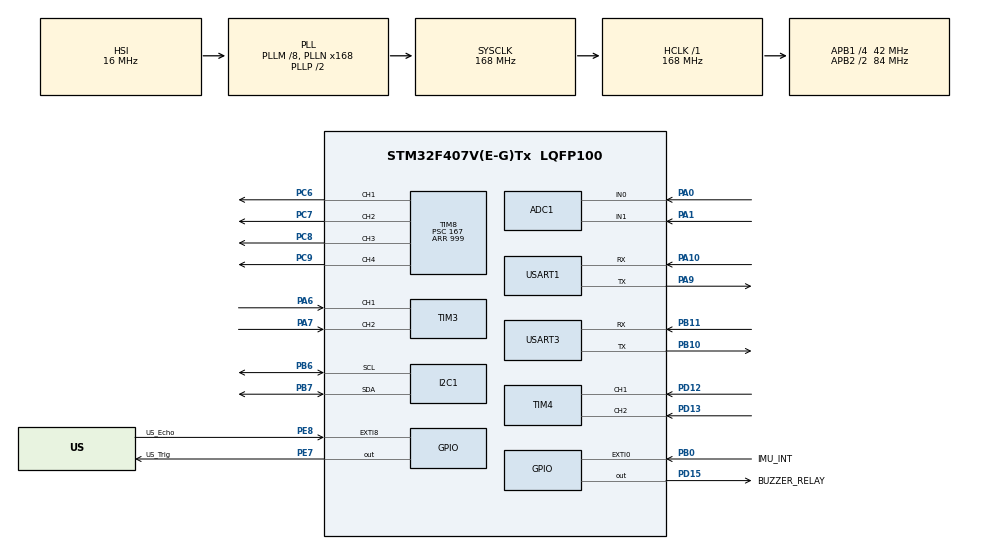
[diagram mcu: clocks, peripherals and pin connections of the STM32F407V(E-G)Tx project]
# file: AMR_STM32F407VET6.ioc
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ADC1.Channel-0\#ChannelRegularConversion=ADC_CHANNEL_0
ADC1.Channel-1\#ChannelRegularConversion=ADC_CHANNEL_1
ADC1.ContinuousConvMode=ENABLE
ADC1.DMAContinuousRequests=ENABLE
ADC1.NbrOfConversion=2
ADC1.NbrOfConversionFlag=1
ADC1.Rank-0\#ChannelRegularConversion=1
ADC1.Rank-1\#ChannelRegularConversion=2
ADC1.SamplingTime-0\#ChannelRegularConversion=ADC_SAMPLETIME_480CYCLES
ADC1.SamplingTime-1\#ChannelRegularConversion=ADC_SAMPLETIME_480CYCLES
ADC1.ScanConvMode=ENABLE
ADC1.master=1
Dma.ADC1.4.Direction=DMA_PERIPH_TO_MEMORY
Dma.ADC1.4.FIFOMode=DMA_FIFOMODE_DISABLE
Dma.ADC1.4.Instance=DMA2_Stream0
Dma.ADC1.4.MemDataAlignment=DMA_MDATAALIGN_HALFWORD
Dma.ADC1.4.MemInc=DMA_MINC_ENABLE
Dma.ADC1.4.Mode=DMA_CIRCULAR
Dma.ADC1.4.PeriphDataAlignment=DMA_PDATAALIGN_HALFWORD
Dma.ADC1.4.PeriphInc=DMA_PINC_DISABLE
Dma.ADC1.4.Priority=DMA_PRIORITY_LOW
Dma.Request0=USART1_RX
Dma.Request1=USART1_TX
Dma.Request2=USART3_TX
Dma.Request3=USART3_RX
Dma.Request4=ADC1
Dma.USART1_RX.0.Direction=DMA_PERIPH_TO_MEMORY
Dma.USART1_RX.0.FIFOMode=DMA_FIFOMODE_DISABLE
Dma.USART1_RX.0.Instance=DMA2_Stream2
Dma.USART1_RX.0.MemDataAlignment=DMA_MDATAALIGN_BYTE
Dma.USART1_RX.0.MemInc=DMA_MINC_ENABLE
Dma.USART1_RX.0.Mode=DMA_CIRCULAR
Dma.USART1_RX.0.PeriphDataAlignment=DMA_PDATAALIGN_BYTE
Dma.USART1_RX.0.PeriphInc=DMA_PINC_DISABLE
Dma.USART1_RX.0.Priority=DMA_PRIORITY_HIGH
Dma.USART1_TX.1.Direction=DMA_MEMORY_TO_PERIPH
Dma.USART1_TX.1.FIFOMode=DMA_FIFOMODE_DISABLE
Dma.USART1_TX.1.Instance=DMA2_Stream7
Dma.USART1_TX.1.MemDataAlignment=DMA_MDATAALIGN_BYTE
Dma.USART1_TX.1.MemInc=DMA_MINC_ENABLE
Dma.USART1_TX.1.Mode=DMA_NORMAL
Dma.USART1_TX.1.PeriphDataAlignment=DMA_PDATAALIGN_BYTE
Dma.USART1_TX.1.PeriphInc=DMA_PINC_DISABLE
Dma.USART1_TX.1.Priority=DMA_PRIORITY_LOW
Dma.USART3_RX.3.Direction=DMA_PERIPH_TO_MEMORY
Dma.USART3_RX.3.FIFOMode=DMA_FIFOMODE_DISABLE
Dma.USART3_RX.3.Instance=DMA1_Stream1
Dma.USART3_RX.3.MemDataAlignment=DMA_MDATAALIGN_BYTE
Dma.USART3_RX.3.MemInc=DMA_MINC_ENABLE
Dma.USART3_RX.3.Mode=DMA_CIRCULAR
Dma.USART3_RX.3.PeriphDataAlignment=DMA_PDATAALIGN_BYTE
Dma.USART3_RX.3.PeriphInc=DMA_PINC_DISABLE
Dma.USART3_RX.3.Priority=DMA_PRIORITY_LOW
Dma.USART3_TX.2.Direction=DMA_MEMORY_TO_PERIPH
Dma.USART3_TX.2.FIFOMode=DMA_FIFOMODE_DISABLE
Dma.USART3_TX.2.Instance=DMA1_Stream3
Dma.USART3_TX.2.MemDataAlignment=DMA_MDATAALIGN_BYTE
Dma.USART3_TX.2.MemInc=DMA_MINC_ENABLE
Dma.USART3_TX.2.Mode=DMA_NORMAL
Dma.USART3_TX.2.PeriphDataAlignment=DMA_PDATAALIGN_BYTE
Dma.USART3_TX.2.PeriphInc=DMA_PINC_DISABLE
Dma.USART3_TX.2.Priority=DMA_PRIORITY_LOW
FREERTOS.Tasks01=defaultTask,24,3000,StartDefaultTask,Default,NULL,Dynamic,NULL,NULL
FREERTOS.configUSE_NEWLIB_REENTRANT=1
Mcu.Family=STM32F4
Mcu.Name=STM32F407V(E-G)Tx
Mcu.Package=LQFP100
NVIC.DMA1_Stream1_IRQn=true\:5\:0\:false\:false\:true\:true\:false\:true\:true
NVIC.DMA1_Stream3_IRQn=true\:5\:0\:false\:false\:true\:true\:false\:true\:true
NVIC.DMA2_Stream0_IRQn=true\:5\:0\:false\:false\:true\:true\:false\:true\:true
NVIC.DMA2_Stream2_IRQn=true\:5\:0\:false\:false\:true\:true\:false\:true\:true
NVIC.DMA2_Stream7_IRQn=true\:5\:0\:false\:false\:true\:true\:false\:true\:true
NVIC.EXTI0_IRQn=true\:5\:0\:false\:false\:true\:true\:true\:true\:true
NVIC.PriorityGroup=NVIC_PRIORITYGROUP_4
NVIC.TIM6_DAC_IRQn=true\:15\:0\:false\:false\:true\:false\:false\:true\:true
NVIC.TimeBase=TIM6_DAC_IRQn
NVIC.TimeBaseIP=TIM6
NVIC.USART1_IRQn=true\:5\:0\:false\:false\:true\:true\:true\:true\:true
NVIC.USART3_IRQn=true\:5\:0\:false\:false\:true\:true\:true\:true\:true
PA0-WKUP.Signal=ADCx_IN0
PA1.Signal=ADCx_IN1
PA10.Mode=Asynchronous
PA10.Signal=USART1_RX
PA13.Mode=Serial_Wire
PA13.Signal=SYS_JTMS-SWDIO
PA14.Mode=Serial_Wire
PA14.Signal=SYS_JTCK-SWCLK
PA6.Signal=S_TIM3_CH1
PA7.Signal=S_TIM3_CH2
PA9.Mode=Asynchronous
PA9.Signal=USART1_TX
PB0.GPIO_Label=IMU_INT
PB0.GPIO_ModeDefaultEXTI=GPIO_MODE_IT_FALLING
PB0.GPIO_PuPd=GPIO_PULLUP
PB0.Signal=GPXTI0
PB10.Mode=Asynchronous
PB10.Signal=USART3_TX
PB11.Mode=Asynchronous
PB11.Signal=USART3_RX
PB6.Mode=I2C
PB6.Signal=I2C1_SCL
PB7.Mode=I2C
PB7.Signal=I2C1_SDA
PC6.Signal=S_TIM8_CH1
PC7.Signal=S_TIM8_CH2
PC8.Signal=S_TIM8_CH3
PC9.Signal=S_TIM8_CH4
PD12.Signal=S_TIM4_CH1
PD13.Signal=S_TIM4_CH2
PD15.GPIO_Label=BUZZER_RELAY
PD15.Signal=GPIO_Output
PE7.GPIO_Label=US_Trig
PE7.Signal=GPIO_Output
PE8.GPIO_Label=US_Echo
PE8.GPIO_ModeDefaultEXTI=GPIO_MODE_IT_RISING_FALLING
PE8.Signal=GPXTI8
PH0-OSC_IN.Mode=HSE-External-Oscillator
PH0-OSC_IN.Signal=RCC_OSC_IN
PH1-OSC_OUT.Mode=HSE-External-Oscillator
PH1-OSC_OUT.Signal=RCC_OSC_OUT
ProjectManager.HeapSize=0x1000
ProjectManager.StackSize=0x800
ProjectManager.TargetToolchain=STM32CubeIDE
RCC.48MHZClocksFreq_Value=84000000
RCC.AHBFreq_Value=168000000
RCC.APB1CLKDivider=RCC_HCLK_DIV4
RCC.APB1Freq_Value=42000000
RCC.APB1TimFreq_Value=84000000
RCC.APB2CLKDivider=RCC_HCLK_DIV2
RCC.APB2Freq_Value=84000000
RCC.APB2TimFreq_Value=168000000
RCC.CortexFreq_Value=168000000
RCC.HCLKFreq_Value=168000000
RCC.HSE_VALUE=8000000
RCC.HSI_VALUE=16000000
RCC.LSE_VALUE=32768
RCC.PLLM=8
RCC.PLLN=168
RCC.SYSCLKFreq_VALUE=168000000
RCC.SYSCLKSource=RCC_SYSCLKSOURCE_PLLCLK
RCC.VCOOutputFreq_Value=336000000
SH.ADCx_IN0.0=ADC1_IN0,IN0
SH.ADCx_IN1.0=ADC1_IN1,IN1
SH.S_TIM3_CH1.0=TIM3_CH1,Encoder_Interface
SH.S_TIM3_CH2.0=TIM3_CH2,Encoder_Interface
SH.S_TIM4_CH1.0=TIM4_CH1,Encoder_Interface
SH.S_TIM4_CH2.0=TIM4_CH2,Encoder_Interface
SH.S_TIM8_CH1.0=TIM8_CH1,PWM Generation1 CH1
SH.S_TIM8_CH2.0=TIM8_CH2,PWM Generation2 CH2
SH.S_TIM8_CH3.0=TIM8_CH3,PWM Generation3 CH3
SH.S_TIM8_CH4.0=TIM8_CH4,PWM Generation4 CH4
TIM3.EncoderMode=TIM_ENCODERMODE_TI12
TIM4.EncoderMode=TIM_ENCODERMODE_TI12
TIM7.Prescaler=84-1
TIM8.Channel-PWM\ Generation1\ CH1=TIM_CHANNEL_1
TIM8.Channel-PWM\ Generation2\ CH2=TIM_CHANNEL_2
TIM8.Channel-PWM\ Generation3\ CH3=TIM_CHANNEL_3
TIM8.Channel-PWM\ Generation4\ CH4=TIM_CHANNEL_4
TIM8.Period=999
TIM8.Prescaler=167
USART1.VirtualMode=VM_ASYNC
USART3.VirtualMode=VM_ASYNC
VP_FREERTOS_VS_CMSIS_V2.Mode=CMSIS_V2
VP_SYS_VS_tim6.Mode=TIM6
VP_TIM7_VS_ClockSourceINT.Mode=Enable_Timer
VP_TIM8_VS_ClockSourceINT.Mode=Internal
board=custom

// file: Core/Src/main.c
/* USER CODE BEGIN Header */
/**
  ******************************************************************************
  * @file           : main.c
  * @brief          : Main program body
  ******************************************************************************
  * @attention
  *
  * Copyright (c) 2026 STMicroelectronics.
  * All rights reserved.
  *
  * This software is licensed under terms that can be found in the LICENSE file
  * in the root directory of this software component.
  * If no LICENSE file comes with this software, it is provided AS-IS.
  *
  ******************************************************************************
  */
/* USER CODE END Header */
#include "main.h"
#include "cmsis_os.h"
#include "adc.h"
#include "dma.h"
#include "i2c.h"
#include "tim.h"
#include "usart.h"
#include "gpio.h"

void SystemClock_Config(void);
void MX_FREERTOS_Init(void);

int main(void)
{

  /* MCU Configuration--------------------------------------------------------*/

  /* Reset of all peripherals, Initializes the Flash interface and the Systick. */
  HAL_Init();

  /* Configure the system clock */
  SystemClock_Config();

  /* Initialize all configured peripherals */
  MX_GPIO_Init();
  MX_DMA_Init();
  MX_TIM3_Init();
  MX_TIM4_Init();
  MX_USART1_UART_Init();
  MX_I2C1_Init();
  MX_TIM8_Init();
  MX_TIM7_Init();
  MX_USART3_UART_Init();
  MX_ADC1_Init();

  /* Init scheduler */
  osKernelInitialize();  /* Call init function for freertos objects (in cmsis_os2.c) */
  MX_FREERTOS_Init();

  /* Start scheduler */
  osKernelStart();

  /* We should never get here as control is now taken by the scheduler */

  /* Infinite loop */
  while (1)
  {

  }
}

void SystemClock_Config(void)
{
  RCC_OscInitTypeDef RCC_OscInitStruct = {0};
  RCC_ClkInitTypeDef RCC_ClkInitStruct = {0};

  /** Configure the main internal regulator output voltage
  */
  __HAL_RCC_PWR_CLK_ENABLE();
  __HAL_PWR_VOLTAGESCALING_CONFIG(PWR_REGULATOR_VOLTAGE_SCALE1);

  /** Initializes the RCC Oscillators according to the specified parameters
  * in the RCC_OscInitTypeDef structure.
  */
  RCC_OscInitStruct.OscillatorType = RCC_OSCILLATORTYPE_HSI;
  RCC_OscInitStruct.HSIState = RCC_HSI_ON;
  RCC_OscInitStruct.HSICalibrationValue = RCC_HSICALIBRATION_DEFAULT;
  RCC_OscInitStruct.PLL.PLLState = RCC_PLL_ON;
  RCC_OscInitStruct.PLL.PLLSource = RCC_PLLSOURCE_HSI;
  RCC_OscInitStruct.PLL.PLLM = 8;
  RCC_OscInitStruct.PLL.PLLN = 168;
  RCC_OscInitStruct.PLL.PLLP = RCC_PLLP_DIV2;
  RCC_OscInitStruct.PLL.PLLQ = 4;
  if (HAL_RCC_OscConfig(&RCC_OscInitStruct) != HAL_OK)
  {
    Error_Handler();
  }

  /** Initializes the CPU, AHB and APB buses clocks
  */
  RCC_ClkInitStruct.ClockType = RCC_CLOCKTYPE_HCLK|RCC_CLOCKTYPE_SYSCLK
                              |RCC_CLOCKTYPE_PCLK1|RCC_CLOCKTYPE_PCLK2;
  RCC_ClkInitStruct.SYSCLKSource = RCC_SYSCLKSOURCE_PLLCLK;
  RCC_ClkInitStruct.AHBCLKDivider = RCC_SYSCLK_DIV1;
  RCC_ClkInitStruct.APB1CLKDivider = RCC_HCLK_DIV4;
  RCC_ClkInitStruct.APB2CLKDivider = RCC_HCLK_DIV2;

  if (HAL_RCC_ClockConfig(&RCC_ClkInitStruct, FLASH_LATENCY_5) != HAL_OK)
  {
    Error_Handler();
  }
}

void HAL_TIM_PeriodElapsedCallback(TIM_HandleTypeDef *htim)
{
  if (htim->Instance == TIM6)
  {
    HAL_IncTick();
  }
}

void Error_Handler(void)
{
  __disable_irq();
  while (1)
  {
  }
}

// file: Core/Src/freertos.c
/* USER CODE BEGIN Header */
/**
  ******************************************************************************
  * File Name          : freertos.c
  * Description        : Code for freertos applications - ROBUST POLLING MODE
  ******************************************************************************
  */
/* USER CODE END Header */

#include "FreeRTOS.h"
#include "task.h"
#include "main.h"
#include "cmsis_os.h"

/* USER CODE BEGIN Includes */
#include <stdio.h>
#include <string.h>
#include "usart.h"
#include "tim.h"
#include "i2c.h"
#include "motor_control.h"
#include "mpu6050.h"
/* USER CODE END Includes */

/* USER CODE BEGIN Variables */
// Ultrasonic Declaration
float us_distance_cm = 0.0f;

// Saklar sensor ultrasonik: 0 = OFF (sensor tidak terpasang), 1 = ON
// Saat OFF, pembacaan noise di pin Echo tidak akan memblokir/menghentikan motor.
#define USE_ULTRASONIC 0
extern TIM_HandleTypeDef htim7;

// UART RX Buffer for receiving velocity commands
#define CMD_BUFFER_SIZE 64
uint8_t uart_rx_buffer[CMD_BUFFER_SIZE];
uint8_t uart_rx_index = 0;

// Safety timeout: Stop motors if no command received
#define CMD_TIMEOUT_MS 2000

// MPU6050 IMU data structure
MPU6050_Data imu_data;
uint8_t imu_initialized = 0;  // Flag: 0 = not initialized, 1 = OK

// IMU statistics (for monitoring)
uint32_t imu_read_count = 0;
uint32_t imu_error_count = 0;
/* USER CODE END Variables */
/* Definitions for defaultTask */
osThreadId_t defaultTaskHandle;
const osThreadAttr_t defaultTask_attributes = {
  .name = "defaultTask",
  .stack_size = 3000 * 4,
  .priority = (osPriority_t) osPriorityNormal,
};

void StartDefaultTask(void *argument);

void MX_FREERTOS_Init(void); /* (MISRA C 2004 rule 8.1) */

void MX_FREERTOS_Init(void) {

  /* Create the thread(s) */
  /* creation of defaultTask */
  defaultTaskHandle = osThreadNew(StartDefaultTask, NULL, &defaultTask_attributes);

}

void StartDefaultTask(void *argument)
{
  /* USER CODE BEGIN StartDefaultTask */

  // 1. Start the Encoders
  HAL_TIM_Encoder_Start(&htim3, TIM_CHANNEL_ALL);
  HAL_TIM_Encoder_Start(&htim4, TIM_CHANNEL_ALL);

  // 2. Initialize Motor Control System
  Motor_Init();

  // 3. IMU Initialization with Aggressive Retries
    osDelay(500);

    char debug_msg[80];
    sprintf(debug_msg, "[DEBUG] Starting MPU6050 init...\r\n");
    HAL_UART_Transmit(&huart1, (uint8_t*)debug_msg, strlen(debug_msg), 100);

    // Langsung masuk ke loop inisialisasi dengan mekanisme retries
    for (int attempt = 0; attempt < 5; attempt++) {
        HAL_StatusTypeDef init_result = MPU6050_Init(&hi2c1);

        if (init_result == HAL_OK) {
            imu_initialized = 1;
            char init_msg[] = "[IMU:OK:POLLING_MODE]\r\n";
            HAL_UART_Transmit(&huart1, (uint8_t*)init_msg, strlen(init_msg), 100);
            break;
        }
        // Jika I2C macet saat inisialisasi, paksa reset hardware I2C
        __HAL_I2C_DISABLE(&hi2c1);
        osDelay(10);
        __HAL_I2C_ENABLE(&hi2c1);

        osDelay(200);
    }

    if (!imu_initialized) {
        char init_msg[] = "[IMU:FAIL]\r\n";
        HAL_UART_Transmit(&huart1, (uint8_t*)init_msg, strlen(init_msg), 100);
    }

  // 4. Start UART RX Interrupt untuk menerima perintah motor dari Raspberry
  HAL_UART_Receive_IT(&huart1, &uart_rx_buffer[uart_rx_index], 1);

  char tx_buffer[128];
  int16_t left_ticks = 0;
  int16_t right_ticks = 0;

  // LOOP UTAMA - BERJALAN TEPAT DI 100Hz (Setiap 10ms)
  for(;;)
  {
      // A. BACA ENCODER RODA SECARA KONTINU
      left_ticks = (int16_t)__HAL_TIM_GET_COUNTER(&htim4);
      right_ticks = (int16_t)__HAL_TIM_GET_COUNTER(&htim3);

      // B. BACA IMU SECARA PAKSA (POLLING) - TANPA PEDULI INTERUPSI
      if (imu_initialized) {
          // Hanya satu transaksi I2C tunggal untuk mencegah kemacetan bus
          if (MPU6050_ReadData(&hi2c1, &imu_data) == HAL_OK) {
              imu_read_count++;
          } else {
              imu_error_count++;
              // Mekanisme Pemulihan Diri: Jika macet, reset I2C secara brutal
              if (imu_error_count > 10) {
                  __HAL_I2C_DISABLE(&hi2c1);
                  osDelay(2);
                  __HAL_I2C_ENABLE(&hi2c1);
                  imu_error_count = 0;
              }
          }
      }

      // C. TELEMETRI KE RASPBERRY PI (Dikirim setiap 5 siklus = 20Hz)
      static uint8_t telemetry_counter = 0;
      telemetry_counter++;

      if (telemetry_counter >= 5) {
          telemetry_counter = 0;
          int len;

          if (imu_initialized) {
              // Konversi ke bilangan bulat agar komunikasi Serial lebih ringan
              int16_t gz_mrad = (int16_t)(imu_data.gyro_z * 1000);
              int16_t ax_cm = (int16_t)(imu_data.accel_x * 100);
              int16_t ay_cm = (int16_t)(imu_data.accel_y * 100);
              int16_t az_cm = (int16_t)(imu_data.accel_z * 100);

              // Perhatikan penambahan \"us\":%.1f di akhir format JSON
				len = sprintf(tx_buffer,
					"{\"l\":%d,\"r\":%d,\"gz\":%d,\"ax\":%d,\"ay\":%d,\"az\":%d,\"rd\":%lu,\"err\":%lu,\"us\":%.1f}\r\n",
					left_ticks,
					right_ticks,
					gz_mrad,
					ax_cm,
					ay_cm,
					az_cm,
					imu_read_count,
					imu_error_count,
					us_distance_cm
				);
          } else {
              len = sprintf(tx_buffer, "{\"l\":%d,\"r\":%d,\"us\":%.1f}\r\n", left_ticks, right_ticks, us_distance_cm);
          }

          if (len > 0) {
              HAL_UART_Transmit(&huart1, (uint8_t*)tx_buffer, len, 10);
          }
      }

      // E. PENEMBAKAN SENSOR ULTRASONIK (Berjalan pada 20Hz / setiap 50ms)
		static uint8_t us_trigger_counter = 0;
		us_trigger_counter++;

		if (us_trigger_counter >= 5) {
			us_trigger_counter = 0;

			// Kirim pulsa HIGH selama ~10 mikrodetik ke pin Trigger
			HAL_GPIO_WritePin(US_Trig_GPIO_Port, US_Trig_Pin, GPIO_PIN_SET);

			// Penundaan kotor (delay) ~10us untuk arsitektur 168MHz
			// Tidak perlu menggunakan timer untuk trigger sederhana ini
			for(volatile int i=0; i<300; i++) {}

			HAL_GPIO_WritePin(US_Trig_GPIO_Port, US_Trig_Pin, GPIO_PIN_RESET);
		}

      if (Motor_CheckTimeout(HAL_GetTick(), CMD_TIMEOUT_MS)) {
          Motor_Emergency_Stop();
      }

      // JEDA SIKLUS MUTLAK 10 MILIDETIK (100Hz)
      osDelay(10);
  }
  /* USER CODE END StartDefaultTask */
}

/* USER CODE BEGIN Application */
void HAL_UART_RxCpltCallback(UART_HandleTypeDef *huart)
{
    if (huart->Instance == USART1) {
        uint8_t received_byte = uart_rx_buffer[uart_rx_index];

        if (received_byte == '\n' || received_byte == '\r') {
            if (uart_rx_index == 0) {
                HAL_UART_Receive_IT(&huart1, &uart_rx_buffer[uart_rx_index], 1);
                return;
            }

            uart_rx_buffer[uart_rx_index] = '\0';

            int16_t v_cmd = 0;
            int16_t w_cmd = 0;

            if (sscanf((char*)uart_rx_buffer, "V:%hd,W:%hd", &v_cmd, &w_cmd) == 2) {

				// --- FILTER KEAMANAN (DIRECTIONAL FAILSAFE) ---
				// Jika rintangan terdeteksi di bawah 30cm dan di atas batas noise 5cm
				if (USE_ULTRASONIC && us_distance_cm > 5.0f && us_distance_cm < 30.0f) {
					// Jika perintah dari ROS 2 adalah MAJU (v_cmd positif)
					if (v_cmd > 0) {
						v_cmd = 0; // Tolak dan netralkan kecepatan maju
					}
					// Catatan: Jika v_cmd negatif (mundur) atau w_cmd (rotasi),
					// biarkan lewat agar robot bisa bermanuver mundur/menghindar.
				}

				int16_t left_speed = v_cmd - (w_cmd / 2);
				int16_t right_speed = v_cmd + (w_cmd / 2);
				Motor_SetSpeed(left_speed, right_speed);
			}

            uart_rx_index = 0;

        } else {
            uart_rx_index++;
            if (uart_rx_index >= (CMD_BUFFER_SIZE - 1)) {
                uart_rx_index = 0;
            }
        }

        HAL_UART_Receive_IT(&huart1, &uart_rx_buffer[uart_rx_index], 1);
    }
}

void HAL_GPIO_EXTI_Callback(uint16_t GPIO_Pin)
{
    if (GPIO_Pin == US_Echo_Pin) {
        if (HAL_GPIO_ReadPin(US_Echo_GPIO_Port, US_Echo_Pin) == GPIO_PIN_SET) {
            __HAL_TIM_SET_COUNTER(&htim7, 0);
            HAL_TIM_Base_Start(&htim7);
        } else {
            HAL_TIM_Base_Stop(&htim7);
            uint32_t time_us = __HAL_TIM_GET_COUNTER(&htim7);
            us_distance_cm = (time_us * 0.0343f) / 2.0f;

            if (USE_ULTRASONIC && us_distance_cm > 2.0f && us_distance_cm < 30.0f) {
                Motor_Emergency_Stop();
            }
        }
    }
}
/* USER CODE END Application */
